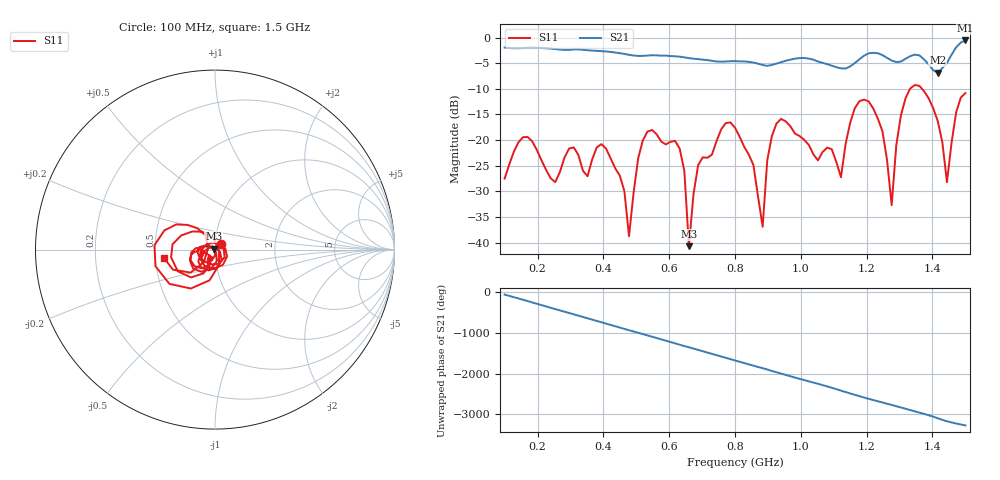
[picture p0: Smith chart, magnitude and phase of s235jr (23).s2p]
! NanoVNA-App
! Date: 2025-09-25 15:04:20
! Start: 100MHz Stop: 1,5GHz Points: 101
! S-Parameter data: F S11 S21 S12 S22
# Hz S RI R 50
!  Frequency  S11_Real  S11_Imag  S21_Real  S21_Imag  S12_Real  S12_Imag  S22_Real  S22_Imag
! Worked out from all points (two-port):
!   101 points, 100 MHz to 1.5 GHz, reference 50 ohm
!   highest |S21| = -0.58 dB at 1.5 GHz (marker M1); lowest = -6.9 dB at 1.416 GHz (marker M2)
!   |S21| within 3 dB of the highest: start of sweep to 503.7 MHz; 520.8 MHz to 597.5 MHz (76.64 MHz wide, 13.7 % of centre) (the widest 2 of 5)
!   lowest |S11| = -40.7 dB at 660 MHz (marker M3), VSWR 1.02, Z = 49.3 + j0.576 ohm
!   |S11| at or under -10 dB: start of sweep to 1.332 GHz; 1.368 GHz to end of sweep
!   S12 and S22 are empty: the file has one direction only
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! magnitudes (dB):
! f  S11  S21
! 100 MHz  -27.5  -2.0
! 156 MHz  -19.4  -2.0
! 338 MHz  -26.0  -2.4
! 408 MHz  -21.6  -2.7
! 478 MHz  -38.7  -3.4
! 520 MHz  -20.0  -3.6
! 576 MHz  -20.3  -3.5
! 632 MHz  -21.7  -3.7
! 660 MHz  -40.7  -4.0
! 688 MHz  -24.9  -4.2
! 800 MHz  -17.6  -4.6
! 884 MHz  -36.9  -5.4
! 926 MHz  -16.8  -5.1
! 1.038 GHz  -22.7  -4.3
! 1.122 GHz  -27.2  -6.0
! 1.206 GHz  -12.4  -3.1
! 1.248 GHz  -18.3  -3.4
! 1.276 GHz  -32.6  -4.5
! 1.332 GHz  -10.0  -3.6
! 1.416 GHz  -16.3  -6.9
! 1.444 GHz  -28.2  -5.0
! 1.5 GHz  -10.8  -0.6
